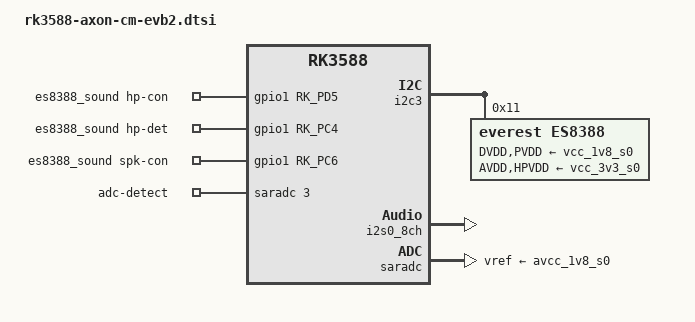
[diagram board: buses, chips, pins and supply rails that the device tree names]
// SPDX-License-Identifier: (GPL-2.0+ OR MIT)
/*
 * Copyright (C) 2026 Vicharak Computers Pvt. Ltd.

 Axon CM Evolution Board 2 (EVB2) Includes:

 - 1x Ethernet RGMII
 - 1x Audio Jack ES8388
 - 2x Audio Speaker ( Left and Right )
 - 1x HDMI Rx 2.0
 - 1x HDMI Tx 2.1
 - 1x MIPI DPHY0 Tx
 - 1x MIPI DPHY1 Tx
 - 1x MIPI DPHY0 Rx
 - 1x MIPI DPHY1 Rx
 - 2x MIPI CSI Rx
 - 2x Type C/DP
 - 1x PCIe 2.0
 - 1x SATA 3.0
 - 1x SDMMC
 - 1x PCIe 3.0 M.2 (NVMe) 4Lane
 - 4x SARADC Pin
 - 1x Button each for POWER, RESET and BOOT
 - 1x 5v connector
 - 1x 30 Pin GPIO Header
 - 1x Button each for POWER, RESET, RECOVERY and BOOT
 */

#include "rk3588-axon-cm.dtsi"
#include "rk3588-linux.dtsi"
#include <dt-bindings/input/rk-input.h>
#include <dt-bindings/pinctrl/rockchip.h>


/ {

	es8388_sound: es8388-sound {
		compatible = "rockchip,multicodecs-card";
		hp-con-gpio = <&gpio1 RK_PD5 GPIO_ACTIVE_HIGH>;
		hp-det-gpio = <&gpio1 RK_PC4 GPIO_ACTIVE_HIGH>;
		spk-con-gpio = <&gpio1 RK_PC6 GPIO_ACTIVE_HIGH>;
		io-channel-names = "adc-detect";
		io-channels = <&saradc 3>;
		keyup-threshold-microvolt = <1800000>;
		poll-interval = <100>;
		rockchip,audio-routing =
			"Headphone", "LOUT1",
			"Headphone", "ROUT1",
			"Speaker", "LOUT2",
			"Speaker", "ROUT2",
			"Headphone", "Headphone Power",
			"Headphone", "Headphone Power",
			"Speaker", "Speaker Power",
			"Speaker", "Speaker Power",
			"RINPUT1", "Headset Mic",
			"RINPUT2", "Headset Mic";
		rockchip,card-name = "rockchip-es8388";
		rockchip,codec = <&es8388>;
		rockchip,cpu = <&i2s0_8ch>;
		rockchip,format = "i2s";
		rockchip,mclk-fs = <256>;
		pinctrl-names = "default";
		pinctrl-0 = <&hp_det>;
		status = "okay";

		play-pause-key {
			label = "playpause";
			linux,code = <KEY_PLAYPAUSE>;
			press-threshold-microvolt = <2000>;
		};
	};
};

&i2c3 {
	status = "okay";

	es8388: es8388@11 {
		#sound-dai-cells = <0>;
		compatible = "everest,es8388", "everest,es8323";
		reg = <0x11>;
		clocks = <&mclkout_i2s0>;
		clock-names = "mclk";
		assigned-clocks = <&mclkout_i2s0>;
		assigned-clock-rates = <12288000>;
		pinctrl-names = "default";
		pinctrl-0 = <&i2s0_mclk>;
		DVDD-supply = <&vcc_1v8_s0>;
		AVDD-supply = <&vcc_3v3_s0>;
		PVDD-supply = <&vcc_1v8_s0>;
		HPVDD-supply = <&vcc_3v3_s0>;
		status = "okay";
	};
};

&i2s0_8ch {
	pinctrl-0 = <&i2s0_lrck
				&i2s0_mclk
				&i2s0_sclk
				&i2s0_sdi0
				&i2s0_sdo0>;

	status = "okay";
};

&pinctrl {
	headphone {
		hp_det: hp-det {
			rockchip,pins =
				<1 RK_PC4 RK_FUNC_GPIO &pcfg_pull_none>;
		};
	};
};

&saradc {
	vref-supply = <&avcc_1v8_s0>;
	status = "okay";
};
